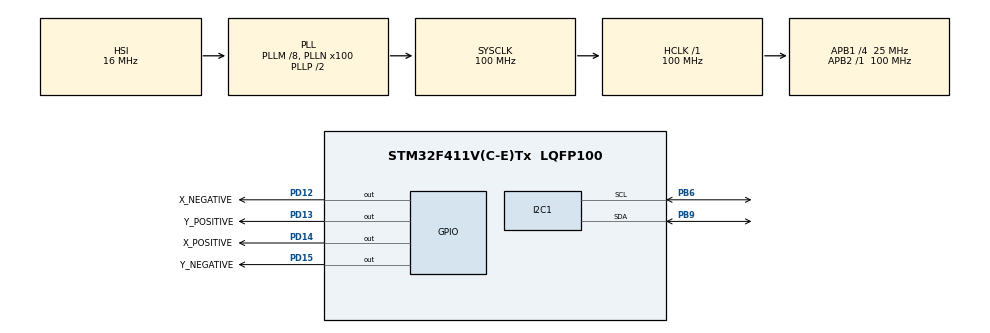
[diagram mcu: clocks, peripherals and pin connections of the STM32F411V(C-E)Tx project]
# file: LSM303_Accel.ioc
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Dma.I2C1_RX.0.Direction=DMA_PERIPH_TO_MEMORY
Dma.I2C1_RX.0.FIFOMode=DMA_FIFOMODE_DISABLE
Dma.I2C1_RX.0.Instance=DMA1_Stream0
Dma.I2C1_RX.0.MemDataAlignment=DMA_MDATAALIGN_BYTE
Dma.I2C1_RX.0.MemInc=DMA_MINC_ENABLE
Dma.I2C1_RX.0.Mode=DMA_CIRCULAR
Dma.I2C1_RX.0.PeriphDataAlignment=DMA_PDATAALIGN_BYTE
Dma.I2C1_RX.0.PeriphInc=DMA_PINC_DISABLE
Dma.I2C1_RX.0.Priority=DMA_PRIORITY_VERY_HIGH
Dma.I2C1_TX.1.Direction=DMA_MEMORY_TO_PERIPH
Dma.I2C1_TX.1.FIFOMode=DMA_FIFOMODE_DISABLE
Dma.I2C1_TX.1.Instance=DMA1_Stream1
Dma.I2C1_TX.1.MemDataAlignment=DMA_MDATAALIGN_BYTE
Dma.I2C1_TX.1.MemInc=DMA_MINC_ENABLE
Dma.I2C1_TX.1.Mode=DMA_CIRCULAR
Dma.I2C1_TX.1.PeriphDataAlignment=DMA_PDATAALIGN_BYTE
Dma.I2C1_TX.1.PeriphInc=DMA_PINC_DISABLE
Dma.I2C1_TX.1.Priority=DMA_PRIORITY_VERY_HIGH
Dma.Request0=I2C1_RX
Dma.Request1=I2C1_TX
I2C1.I2C_Mode=I2C_Fast
Mcu.Family=STM32F4
Mcu.Name=STM32F411V(C-E)Tx
Mcu.Package=LQFP100
NVIC.DMA1_Stream0_IRQn=true\:0\:0\:false\:false\:true
NVIC.DMA1_Stream1_IRQn=true\:0\:0\:false\:false\:true
NVIC.PriorityGroup=NVIC_PRIORITYGROUP_4
PB6.Mode=I2C
PB6.Signal=I2C1_SCL
PB9.Mode=I2C
PB9.Signal=I2C1_SDA
PD12.GPIO_Label=X_NEGATIVE
PD12.Signal=GPIO_Output
PD13.GPIO_Label=Y_POSITIVE
PD13.Signal=GPIO_Output
PD14.GPIO_Label=X_POSITIVE
PD14.Signal=GPIO_Output
PD15.GPIO_Label=Y_NEGATIVE
PD15.Signal=GPIO_Output
ProjectManager.HeapSize=0x200
ProjectManager.StackSize=0x400
ProjectManager.TargetToolchain=SW4STM32
RCC.48MHZClocksFreq_Value=50000000
RCC.AHBFreq_Value=100000000
RCC.APB1CLKDivider=RCC_HCLK_DIV4
RCC.APB1Freq_Value=25000000
RCC.APB1TimFreq_Value=50000000
RCC.APB2Freq_Value=100000000
RCC.APB2TimFreq_Value=100000000
RCC.CortexFreq_Value=100000000
RCC.HCLKFreq_Value=100000000
RCC.HSE_VALUE=25000000
RCC.HSI_VALUE=16000000
RCC.LSE_VALUE=32768
RCC.PLLM=8
RCC.PLLN=100
RCC.SYSCLKFreq_VALUE=100000000
RCC.SYSCLKSource=RCC_SYSCLKSOURCE_PLLCLK
RCC.VCOOutputFreq_Value=200000000
board=LSM303_Accel

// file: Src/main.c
/**
  ******************************************************************************
  * File Name          : main.c
  * Description        : Main program body
  ******************************************************************************
  *
  * COPYRIGHT(c) 2017 STMicroelectronics
  *
  * Redistribution and use in source and binary forms, with or without modification,
  * are permitted provided that the following conditions are met:
  *   1. Redistributions of source code must retain the above copyright notice,
  *      this list of conditions and the following disclaimer.
  *   2. Redistributions in binary form must reproduce the above copyright notice,
  *      this list of conditions and the following disclaimer in the documentation
  *      and/or other materials provided with the distribution.
  *   3. Neither the name of STMicroelectronics nor the names of its contributors
  *      may be used to endorse or promote products derived from this software
  *      without specific prior written permission.
  *
  * THIS SOFTWARE IS PROVIDED BY THE COPYRIGHT HOLDERS AND CONTRIBUTORS "AS IS"
  * AND ANY EXPRESS OR IMPLIED WARRANTIES, INCLUDING, BUT NOT LIMITED TO, THE
  * IMPLIED WARRANTIES OF MERCHANTABILITY AND FITNESS FOR A PARTICULAR PURPOSE ARE
  * DISCLAIMED. IN NO EVENT SHALL THE COPYRIGHT HOLDER OR CONTRIBUTORS BE LIABLE
  * FOR ANY DIRECT, INDIRECT, INCIDENTAL, SPECIAL, EXEMPLARY, OR CONSEQUENTIAL
  * DAMAGES (INCLUDING, BUT NOT LIMITED TO, PROCUREMENT OF SUBSTITUTE GOODS OR
  * SERVICES; LOSS OF USE, DATA, OR PROFITS; OR BUSINESS INTERRUPTION) HOWEVER
  * CAUSED AND ON ANY THEORY OF LIABILITY, WHETHER IN CONTRACT, STRICT LIABILITY,
  * OR TORT (INCLUDING NEGLIGENCE OR OTHERWISE) ARISING IN ANY WAY OUT OF THE USE
  * OF THIS SOFTWARE, EVEN IF ADVISED OF THE POSSIBILITY OF SUCH DAMAGE.
  *
  ******************************************************************************
  */
#include "main.h"
#include "stm32f4xx_hal.h"

/* USER CODE BEGIN Includes */
#include <limits.h>
/* USER CODE END Includes */

I2C_HandleTypeDef hi2c1;
DMA_HandleTypeDef hdma_i2c1_rx;
DMA_HandleTypeDef hdma_i2c1_tx;

/* USER CODE BEGIN PV */
/* Private variables ---------------------------------------------------------*/
//Macrodefinitions
#define LSM303_ACC_ADDRESS (0x19 << 1) //shift to left because LSB can be 1 or 0 depending on Read/Write operation; HAL handles it by itself
//CTRL_REG1_A = [ODR3][ODR2][ODR1][ODR0][LPen][Zen][Yen][Xen]
#define LSM303_ACC_CTRL_REG1_A 0x20
#define LSM303_ACC_POWER_DOWN 0x00
#define LSM303_ACC_1HZ 0x10
#define LSM303_ACC_10HZ 0x20
#define LSM303_ACC_25HZ 0x30
#define LSM303_ACC_50HZ 0x40
#define LSM303_ACC_100HZ 0x50
#define LSM303_ACC_200HZ 0x60
#define LSM303_ACC_400HZ 0x70
#define LSM303_ACC_1620HZ 0x80 //onlu Low-power mode
#define LSM303_ACC_1344HZ_NORMAL_OR_5376HZ_LOW 0x90
#define LSM303_ACC_XYZ_ENABLE 0x07
#define LSM303_ACC_X_ENABLE 0x01
#define LSM303_ACC_Y_ENABLE 0x02
#define LSM303_ACC_Z_ENABLE 0x04
#define LSM303_ACC_LOW_POWER 0x08

//CTRL_REG2_A = [HPM1][HPM0][HPCF2][HPCF1][FDS][HPCLICK][HPIS2][HPIS1]
#define LSM303_ACC_CTRL_REG2_A 0x21
//Some high pass filter options.

//CTRL_REG3_A = [I1_CLICK][I1_AOI1][[I1_AOI2][I1_DRDY1][I1_DRDY2][I1_WTM][I1_OVERRUN][--]
#define LSM303_ACC_CTRL_REG3_A 0x22
//Some INT1 and FIFO options.

//CTRL_REG4_A = [BDU][BLE][FS1][FS0][HR][0][0][SIM]
#define LSM303_ACC_CTRL_REG4_A 0x23
#define LSM303_ACC_HIGH_RES_OUT 0x08
#define LSM303_ACC_2G 0x00
#define LSM303_ACC_4G 0x10
#define LSM303_ACC_8G 0x20
#define LSM303_ACC_16G 0x30
#define LSM303_ACC_SPI_3_WIRE 0x01 //otherwise 4-wire SPI

//CTRL_REG5_A = [BOOT][FIFO_EN][--][--][LIR_INT1][D4D_INT1][LIR_INT2][D4D_INT2]
#define LSM303_ACC_CTRL_REG5_A 0x24
#define LSM303_ACC_REBOOT_MEMORY 0x80
#define LSM303_ACC_FIFO_ENABLE 0x40
//Some Latch interrput and 4D (?) enable.

//CTRL_REG6_A = [I2_CLICKen][I2_INT1][I2_INT2][BOOT_I1][P2_ACT][--][H_LACTIVE][--]
#define LSM303_ACC_CTRL_REG6_A 0x25
//Some interrupts and reboot

//REFERENCE/DATACAPTURE_A = [Ref7][Ref6][Ref5][Ref4][Ref3][Ref2][Ref1][Ref0]
#define LSM303_ACC_REFERENCE_DATACAPTURE_A 0x26

//STATUS_REG_A = [ZYXOR][ZOR][YOR][XOR][ZYXDA][ZDA][YDA][XDA]
#define LSM303_ACC_STATUS_REG_A 0x27
//Some data overrun and...
#define LSM303_ACC_ZYXDA 0x08 //X, Y, Z axis new data avaiable
#define LSM303_ACC_ZDA 0x04 //Z axis new data avaiable
#define LSM303_ACC_YDA 0x02 //Y axis new data avaiable
#define LSM303_ACC_XDA 0x01 //X axis new data avaiable

//OUT REGISTERS
#define LSM303_ACC_OUT_X_L_A 0x28
#define LSM303_ACC_OUT_X_H_A 0x29
#define LSM303_ACC_OUT_Y_L_A 0x2A
#define LSM303_ACC_OUT_Y_H_A 0x2B
#define LSM303_ACC_OUT_Z_L_A 0x2C
#define LSM303_ACC_OUT_Z_H_A 0x2D
#define LSM303_ACC_OUT_Z_MULTIREAD_A (LSM303_ACC_OUT_Z_L_A | 0x80)
#define LSM303_ACC_OUT_XYZ_MULTIREAD_A (LSM303_ACC_OUT_X_L_A | 0x80) //0x80 from manual to enable read from 2 bytes

#define LSM303_ACC_RESOLUTION_2G 2.0
#define LSM303_ACC_RESOLUTION_4G 4.0
#define LSM303_ACC_RESOLUTION_8G 8.0
#define LSM303_ACC_RESOLUTION_16G 16.0
//Variables
uint8_t Data[6];
int16_t Accel_raw_x;
int16_t Accel_raw_y;
int16_t Accel_raw_z;
float Accel_g_x;
float Accel_g_y;
float Accel_g_z;
/* USER CODE END PV */

void SystemClock_Config(void);
void Error_Handler(void);
static void MX_GPIO_Init(void);
static void MX_DMA_Init(void);
static void MX_I2C1_Init(void);

/* USER CODE BEGIN PFP */
/* Private function prototypes -----------------------------------------------*/

/* USER CODE END PFP */

int main(void)
{

  /* USER CODE BEGIN 1 */
	uint8_t settings;
	float Threshold = 0.4;
  /* USER CODE END 1 */

  /* MCU Configuration----------------------------------------------------------*/

  /* Reset of all peripherals, Initializes the Flash interface and the Systick. */
  HAL_Init();

  /* Configure the system clock */
  SystemClock_Config();

  /* Initialize all configured peripherals */
  MX_GPIO_Init();
  MX_DMA_Init();
  MX_I2C1_Init();

  /* USER CODE BEGIN 2 */
  //********************************************************************************************************************
 	//Using blocking mode.
   	settings = LSM303_ACC_XYZ_ENABLE | LSM303_ACC_100HZ;
 	HAL_I2C_Mem_Write(&hi2c1, LSM303_ACC_ADDRESS, LSM303_ACC_CTRL_REG1_A, 1, &settings, 1, 100);

 	settings = LSM303_ACC_8G;
 	HAL_I2C_Mem_Write(&hi2c1, LSM303_ACC_ADDRESS, LSM303_ACC_CTRL_REG4_A, 1, &settings, 1, 100);
   //********************************************************************************************************************

 	//Using DMA but do not working; don't know why...
 //  settings = LSM303_ACC_XYZ_ENABLE | LSM303_ACC_100HZ;
 //  HAL_I2C_Mem_Write_DMA(&hi2c1, LSM303_ACC_ADDRESS, LSM303_ACC_CTRL_REG1_A, 1, &settings, 1);
 //
 //  settings = LSM303_ACC_2G;
 //  HAL_I2C_Mem_Write_DMA(&hi2c1, LSM303_ACC_ADDRESS, LSM303_ACC_CTRL_REG4_A, 1, &settings, 1);

  /* USER CODE END 2 */

  /* Infinite loop */
  /* USER CODE BEGIN WHILE */
  while (1)
  {
		//********************************************************************************************************************
	//		HAL_I2C_Mem_Read(&hi2c1, LSM303_ACC_ADDRESS, LSM303_ACC_OUT_XYZ_MULTIREAD_A, 1, Data, 6, 100);
			//********************************************************************************************************************
			HAL_I2C_Mem_Read_DMA(&hi2c1, LSM303_ACC_ADDRESS, LSM303_ACC_OUT_XYZ_MULTIREAD_A, 1, Data, 6);
			Accel_raw_x = ((Data[1] << 8) | Data[0]);
			Accel_raw_y = ((Data[3] << 8) | Data[2]);
			Accel_raw_z = ((Data[5] << 8) | Data[4]);

			Accel_g_x = (float)((Accel_raw_x * LSM303_ACC_RESOLUTION_8G)/INT16_MAX);
			Accel_g_y = (float)((Accel_raw_y * LSM303_ACC_RESOLUTION_8G)/INT16_MAX);
			Accel_g_z = (float)((Accel_raw_z * LSM303_ACC_RESOLUTION_8G)/INT16_MAX);

			//Y axis
			if (Accel_g_x > Threshold) {
				HAL_GPIO_WritePin(Y_POSITIVE_GPIO_Port, Y_POSITIVE_Pin, GPIO_PIN_SET);
			} else if (Accel_g_x < -Threshold) {
				HAL_GPIO_WritePin(Y_NEGATIVE_GPIO_Port, Y_NEGATIVE_Pin, GPIO_PIN_SET);
			} else {
				HAL_GPIO_WritePin(GPIOD, Y_POSITIVE_Pin | Y_NEGATIVE_Pin, GPIO_PIN_RESET);
			}
			//X axis
			if (Accel_g_y < -Threshold) {
				HAL_GPIO_WritePin(X_POSITIVE_GPIO_Port, X_POSITIVE_Pin, GPIO_PIN_SET);
			} else if (Accel_g_y > Threshold) {
				HAL_GPIO_WritePin(X_NEGATIVE_GPIO_Port, X_NEGATIVE_Pin, GPIO_PIN_SET);
			} else {
				HAL_GPIO_WritePin(GPIOD, X_POSITIVE_Pin | X_NEGATIVE_Pin, GPIO_PIN_RESET);
			}

	//		HAL_GPIO_WritePin(X_POSITIVE_GPIO_Port, X_POSITIVE_Pin, GPIO_PIN_SET);

  /* USER CODE END WHILE */

  }

}

/** System Clock Configuration
*/
void SystemClock_Config(void)
{

  RCC_OscInitTypeDef RCC_OscInitStruct;
  RCC_ClkInitTypeDef RCC_ClkInitStruct;

    /**Configure the main internal regulator output voltage
    */
  __HAL_RCC_PWR_CLK_ENABLE();

  __HAL_PWR_VOLTAGESCALING_CONFIG(PWR_REGULATOR_VOLTAGE_SCALE1);

    /**Initializes the CPU, AHB and APB busses clocks
    */
  RCC_OscInitStruct.OscillatorType = RCC_OSCILLATORTYPE_HSI;
  RCC_OscInitStruct.HSIState = RCC_HSI_ON;
  RCC_OscInitStruct.HSICalibrationValue = 16;
  RCC_OscInitStruct.PLL.PLLState = RCC_PLL_ON;
  RCC_OscInitStruct.PLL.PLLSource = RCC_PLLSOURCE_HSI;
  RCC_OscInitStruct.PLL.PLLM = 8;
  RCC_OscInitStruct.PLL.PLLN = 100;
  RCC_OscInitStruct.PLL.PLLP = RCC_PLLP_DIV2;
  RCC_OscInitStruct.PLL.PLLQ = 4;
  if (HAL_RCC_OscConfig(&RCC_OscInitStruct) != HAL_OK)
  {
    Error_Handler();
  }

    /**Initializes the CPU, AHB and APB busses clocks
    */
  RCC_ClkInitStruct.ClockType = RCC_CLOCKTYPE_HCLK|RCC_CLOCKTYPE_SYSCLK
                              |RCC_CLOCKTYPE_PCLK1|RCC_CLOCKTYPE_PCLK2;
  RCC_ClkInitStruct.SYSCLKSource = RCC_SYSCLKSOURCE_PLLCLK;
  RCC_ClkInitStruct.AHBCLKDivider = RCC_SYSCLK_DIV1;
  RCC_ClkInitStruct.APB1CLKDivider = RCC_HCLK_DIV4;
  RCC_ClkInitStruct.APB2CLKDivider = RCC_HCLK_DIV1;

  if (HAL_RCC_ClockConfig(&RCC_ClkInitStruct, FLASH_LATENCY_3) != HAL_OK)
  {
    Error_Handler();
  }

    /**Configure the Systick interrupt time
    */
  HAL_SYSTICK_Config(HAL_RCC_GetHCLKFreq()/1000);

    /**Configure the Systick
    */
  HAL_SYSTICK_CLKSourceConfig(SYSTICK_CLKSOURCE_HCLK);

  /* SysTick_IRQn interrupt configuration */
  HAL_NVIC_SetPriority(SysTick_IRQn, 0, 0);
}

/* I2C1 init function */
static void MX_I2C1_Init(void)
{

  hi2c1.Instance = I2C1;
  hi2c1.Init.ClockSpeed = 400000;
  hi2c1.Init.DutyCycle = I2C_DUTYCYCLE_2;
  hi2c1.Init.OwnAddress1 = 0;
  hi2c1.Init.AddressingMode = I2C_ADDRESSINGMODE_7BIT;
  hi2c1.Init.DualAddressMode = I2C_DUALADDRESS_DISABLE;
  hi2c1.Init.OwnAddress2 = 0;
  hi2c1.Init.GeneralCallMode = I2C_GENERALCALL_DISABLE;
  hi2c1.Init.NoStretchMode = I2C_NOSTRETCH_DISABLE;
  if (HAL_I2C_Init(&hi2c1) != HAL_OK)
  {
    Error_Handler();
  }

}

static void MX_DMA_Init(void)
{
  /* DMA controller clock enable */
  __HAL_RCC_DMA1_CLK_ENABLE();

  /* DMA interrupt init */
  /* DMA1_Stream0_IRQn interrupt configuration */
  HAL_NVIC_SetPriority(DMA1_Stream0_IRQn, 0, 0);
  HAL_NVIC_EnableIRQ(DMA1_Stream0_IRQn);
  /* DMA1_Stream1_IRQn interrupt configuration */
  HAL_NVIC_SetPriority(DMA1_Stream1_IRQn, 0, 0);
  HAL_NVIC_EnableIRQ(DMA1_Stream1_IRQn);

}

/** Configure pins as
        * Analog
        * Input
        * Output
        * EVENT_OUT
        * EXTI
*/
static void MX_GPIO_Init(void)
{

  GPIO_InitTypeDef GPIO_InitStruct;

  /* GPIO Ports Clock Enable */
  __HAL_RCC_GPIOD_CLK_ENABLE();
  __HAL_RCC_GPIOB_CLK_ENABLE();

  /*Configure GPIO pin Output Level */
  HAL_GPIO_WritePin(GPIOD, X_NEGATIVE_Pin|Y_POSITIVE_Pin|X_POSITIVE_Pin|Y_NEGATIVE_Pin, GPIO_PIN_RESET);

  /*Configure GPIO pins : X_NEGATIVE_Pin Y_POSITIVE_Pin X_POSITIVE_Pin Y_NEGATIVE_Pin */
  GPIO_InitStruct.Pin = X_NEGATIVE_Pin|Y_POSITIVE_Pin|X_POSITIVE_Pin|Y_NEGATIVE_Pin;
  GPIO_InitStruct.Mode = GPIO_MODE_OUTPUT_PP;
  GPIO_InitStruct.Pull = GPIO_NOPULL;
  GPIO_InitStruct.Speed = GPIO_SPEED_FREQ_LOW;
  HAL_GPIO_Init(GPIOD, &GPIO_InitStruct);

}

void Error_Handler(void)
{
  while(1)
  {
  }
}

/************************ (C) COPYRIGHT STMicroelectronics *****END OF FILE****/
